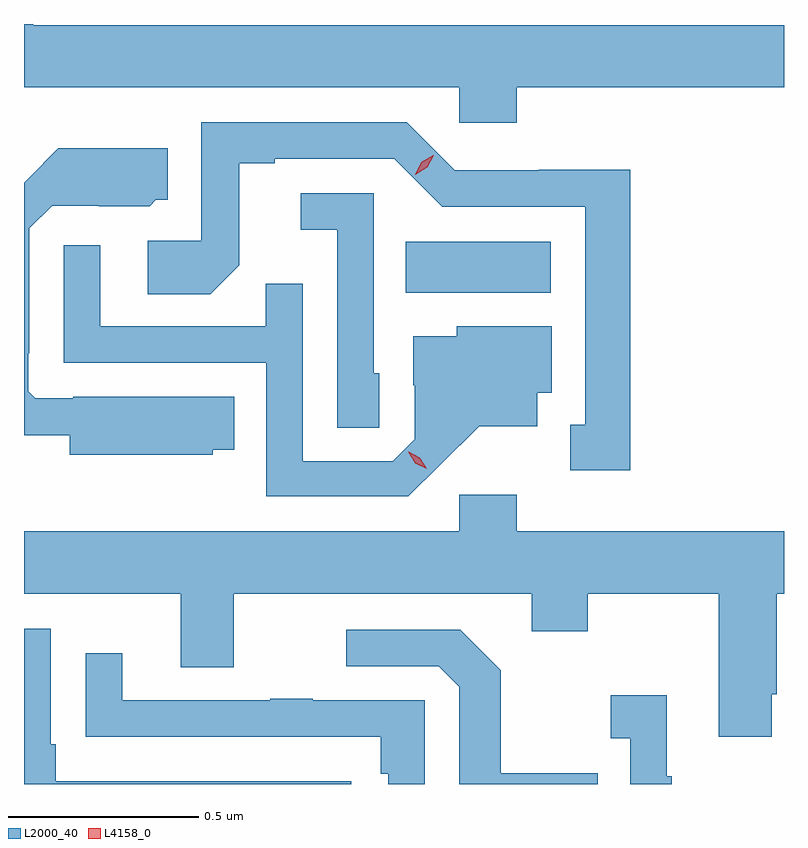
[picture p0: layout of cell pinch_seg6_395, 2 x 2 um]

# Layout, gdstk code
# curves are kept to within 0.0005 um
import gdstk
lib = gdstk.Library(unit=1e-6, precision=1e-09)
def R(c, l, rs):  # rectangles x0, y0, x1, y1
    for r in rs: c.add(gdstk.rectangle(r[:2], r[2:], *l))
def P(c, l, *ps):  # polygons
    for p in ps: c.add(gdstk.Polygon(p, *l))
L2000_40 = (2000, 40)
L4158_0 = (4158, 0)

pinch_seg6_395 = lib.new_cell('pinch_seg6_395')
R(pinch_seg6_395, L2000_40, [(642.64,925.484,643.021,925.618)])
P(pinch_seg6_395, L2000_40, [(642.932,926.024),(643.635,926.024),(643.635,926.188),(641.659,926.188),(641.659,926.191),(641.635,926.191),(641.635,926.024),(642.78,926.024),(642.78,925.931),(642.932,925.931)],
  [(643.231,925.808),(642.99,925.808),(642.99,925.806),(642.768,925.806),(642.642,925.932),(642.102,925.932),(642.102,925.62),(641.961,925.62),(641.961,925.48),(642.125,925.48),(642.201,925.556),(642.201,925.824),(642.295,925.824),(642.295,925.836),(642.609,925.836),(642.735,925.71),(643.112,925.71),(643.112,925.137),(643.073,925.137),(643.073,925.017),(643.231,925.017)],
  [(642.132,925.07),(642.188,925.07),(642.188,925.21),(641.764,925.21),(641.764,925.206),(641.664,925.206),(641.646,925.224),(641.646,925.324),(641.649,925.324),(641.649,925.653),(641.709,925.713),(641.832,925.713),(641.832,925.712),(641.966,925.712),(641.982,925.728),(642.013,925.728),(642.013,925.864),(641.725,925.864),(641.635,925.773),(641.635,925.109),(641.756,925.109),(641.756,925.058),(642.132,925.058)],
  [(642.57,925.272),(642.555,925.272),(642.555,925.746),(642.363,925.746),(642.363,925.649),(642.459,925.649),(642.459,925.129),(642.57,925.129)],
  [(642.73,925.031),(642.833,925.133),(642.985,925.133),(642.985,925.22),(643.024,925.22),(643.024,925.396),(642.774,925.396),(642.774,925.369),(642.659,925.369),(642.659,925.24),(642.663,925.24),(642.663,925.098),(642.606,925.041),(642.369,925.041),(642.369,925.508),(642.271,925.508),(642.271,925.395),(641.835,925.395),(641.835,925.609),(641.739,925.609),(641.739,925.299),(642.273,925.299),(642.273,924.948),(642.646,924.948)],
  [(643.603,924.427),(643.616,924.427),(643.616,924.692),(643.635,924.692),(643.635,924.856),(642.932,924.856),(642.932,924.952),(642.78,924.952),(642.78,924.856),(641.635,924.856),(641.635,924.692),(642.047,924.692),(642.047,924.498),(642.187,924.498),(642.187,924.692),(642.971,924.692),(642.971,924.593),(643.119,924.593),(643.119,924.692),(643.463,924.692),(643.463,924.315),(643.603,924.315)],
  [(642.496,924.198),(641.719,924.198),(641.719,924.295),(641.706,924.295),(641.706,924.6),(641.635,924.6),(641.635,924.191),(642.496,924.191)],
  [(643.145,924.219),(642.889,924.219),(642.889,924.491),(642.783,924.597),(642.483,924.597),(642.483,924.501),(642.726,924.501),(642.78,924.447),(642.78,924.191),(643.145,924.191)],
  [(642.69,924.411),(642.395,924.411),(642.395,924.416),(642.283,924.416),(642.283,924.411),(641.893,924.411),(641.893,924.535),(641.797,924.535),(641.797,924.316),(641.899,924.316),(641.899,924.315),(642.574,924.315),(642.574,924.218),(642.594,924.218),(642.594,924.191),(642.69,924.191)],
  [(643.339,924.211),(643.327,924.211),(643.327,924.424),(643.179,924.424),(643.179,924.311),(643.23,924.311),(643.23,924.191),(643.339,924.191)])
P(pinch_seg6_395, L4158_0, [(642.664,925.794),(642.664,925.795),(642.681,925.827),(642.712,925.846),(642.713,925.846),(642.713,925.846),(642.696,925.814),(642.665,925.794)],
  [(642.695,925.02),(642.664,925.035),(642.646,925.065),(642.646,925.065),(642.647,925.065),(642.677,925.05),(642.695,925.021),(642.695,925.02)])

lib.write_gds('pinch_seg6_395.gds')
